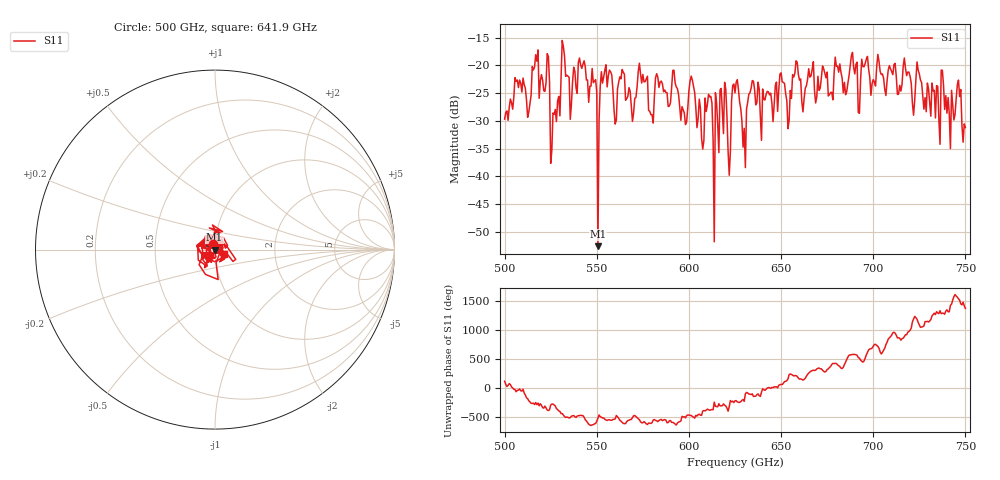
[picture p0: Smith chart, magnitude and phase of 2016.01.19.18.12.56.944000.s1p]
!Created with skrf (http://scikit-rf.org).
# GHz S RI R 50.0
!freq ReS11 ImS11
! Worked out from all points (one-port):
!   401 points, 500 GHz to 750 GHz, reference 50 ohm
!   lowest |S11| = -52.6 dB at 550.6 GHz (marker M1), VSWR 1.00, Z = 49.8 - j0.054 ohm
!   |S11| at or under -10 dB: start of sweep to end of sweep
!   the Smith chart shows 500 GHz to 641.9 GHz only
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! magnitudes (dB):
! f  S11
! 500 GHz  -29.7
! 506.9 GHz  -22.6
! 513.1 GHz  -28.4
! 516.9 GHz  -18.1
! 523.1 GHz  -17.9
! 526.2 GHz  -28.6
! 531.2 GHz  -15.5
! 548.8 GHz  -22.9
! 550.6 GHz  -52.6
! 553.8 GHz  -22.1
! 560 GHz  -30.6
! 562.5 GHz  -22.1
! 579.4 GHz  -28.9
! 593.8 GHz  -24.2
! 601.9 GHz  -22.7
! 606.9 GHz  -33.2
! 611.2 GHz  -25.7
! 615 GHz  -26.7
! 618.1 GHz  -28.2
! 621.9 GHz  -39.8
! 625 GHz  -24.9
! 630 GHz  -31.3
! 633.8 GHz  -24.1
! 656.2 GHz  -21.7
! 687.5 GHz  -20.0
! 718.8 GHz  -21.2
! 746.2 GHz  -22.6
! 750 GHz  -31.2
